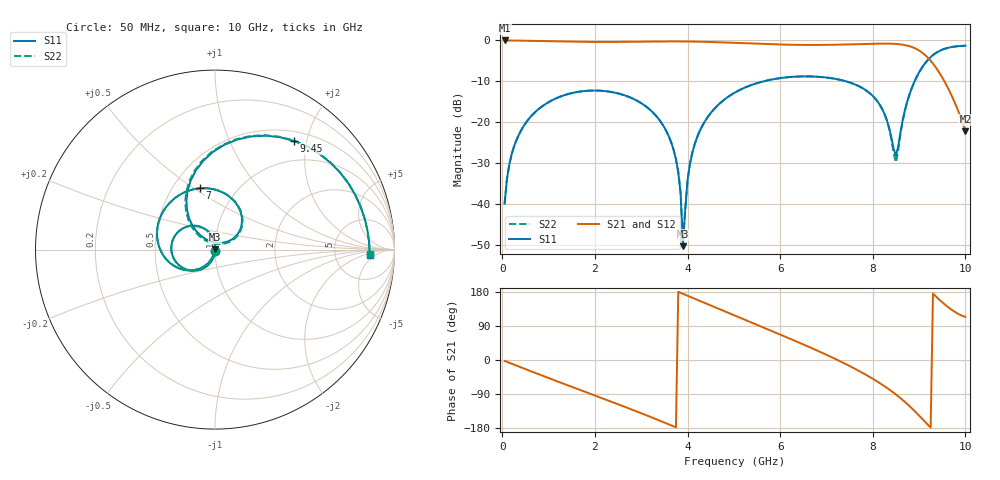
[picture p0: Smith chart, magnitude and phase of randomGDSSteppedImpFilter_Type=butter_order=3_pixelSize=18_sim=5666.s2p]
! freq	dB(S11)	phase(S11)	dB(S12)	phase(S12)
!  dB(S21)	phase(S21)	dB(S22)	phase(S22)
!S-par simulation data
#  GHz  S  DB  R 50
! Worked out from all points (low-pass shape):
!   200 points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, 50 MHz to 10 GHz, reference 50 ohm
!   highest |S21| = 0.00 dB at 50 MHz (marker M1); lowest = -22.3 dB at 10 GHz (marker M2)
!   |S21| within 3 dB of the highest: start of sweep to 9.068 GHz
!   lowest |S11| = -50.4 dB at 3.9 GHz (marker M3), VSWR 1.01, Z = 49.9 + j0.268 ohm
!   |S11| at or under -10 dB: start of sweep to 5.644 GHz; 7.419 GHz to 8.903 GHz (1.484 GHz wide, 18.2 % of centre)
!   |S22| runs from -48.7 to -1.3 dB; largest |S21 - S12| = 0
!   S11 on the Smith chart (normalised r, x): 50 MHz: 1.00, -0.02; 7 GHz: 0.68, +0.53; 9.45 GHz: 0.65, +1.78; 10 GHz: 13, -3
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0.05  -39.96 -92.2  -0.00 -2.4  -0.00 -2.4  -39.95 -92.2
0.2  -27.97 -99.7  -0.02 -9.7  -0.02 -9.7  -27.98 -99.7
0.5  -20.30 -114.7  -0.07 -24.1  -0.07 -24.1  -20.31 -114.7
1.75  -12.41 -173.0  -0.35 -82.3  -0.35 -82.3  -12.41 -173.0
2.55  -13.12 150.1  -0.36 -119.1  -0.36 -119.1  -13.12 150.2
3.4  -19.58 109.7  -0.25 -160.1  -0.25 -160.1  -19.57 110.1
3.75  -29.11 93.5  -0.24 -177.6  -0.24 -177.6  -29.10 95.0
3.85  -37.32 91.5  -0.24 177.3  -0.24 177.3  -37.25 95.6
3.9  -50.37 117.4  -0.25 174.8  -0.25 174.8  -48.70 132.5
4  -34.27 -104.5  -0.26 169.7  -0.26 169.7  -34.23 -107.7
4.2  -23.92 -112.3  -0.29 159.4  -0.29 159.4  -23.92 -113.3
5.05  -12.58 -154.9  -0.61 115.7  -0.61 115.7  -12.58 -155.3
5.85  -9.49 164.6  -0.95 74.9  -0.95 74.9  -9.49 164.3
6.7  -8.82 120.4  -1.10 30.4  -1.10 30.4  -8.82 119.9
7  -9.08 103.9  -1.08 13.8  -1.08 13.8  -9.08 103.4
7.7  -11.20 62.9  -0.91 -28.7  -0.91 -28.7  -11.20 62.0
8.35  -21.23 32.2  -0.79 -77.4  -0.79 -77.4  -21.46 28.2
8.5  -28.20 84.8  -0.86 -91.0  -0.86 -91.0  -29.87 84.7
8.7  -16.80 135.5  -1.15 -111.3  -1.15 -111.3  -16.94 138.4
9  -7.81 109.5  -2.46 -146.6  -2.46 -146.6  -7.83 110.7
9.45  -2.51 53.9  -8.13 157.7  -8.13 157.7  -2.52 54.5
10  -1.28 -2.0  -22.28 113.8  -22.28 113.8  -1.29 -1.7
